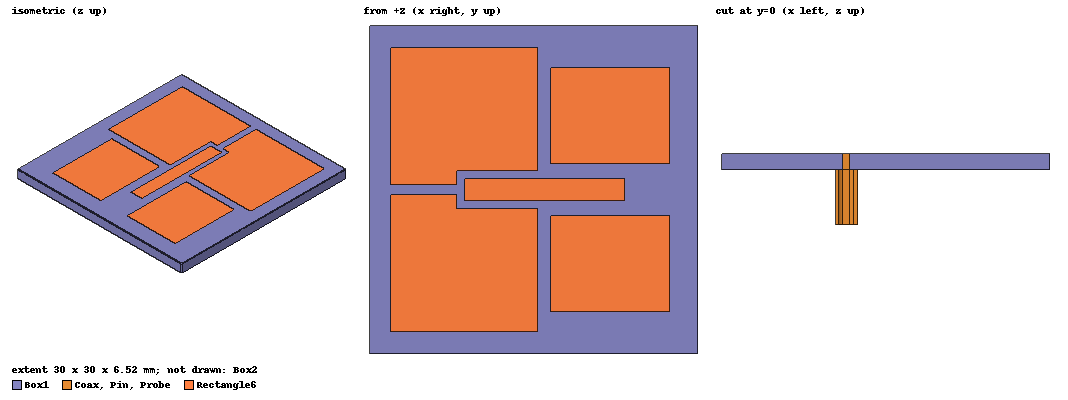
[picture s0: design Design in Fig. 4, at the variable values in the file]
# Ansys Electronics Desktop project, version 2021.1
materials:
  vacuum: permittivity=1
  Taconic RF-35 (tm): permittivity=3.5 dielectric_loss_tangent=0.0018
  copper: permeability=0.999991 conductivity=58000000

design Design in Fig. 4 (HFSS, DrivenModal, model units mm)
options: Save_Adaptive_support_files
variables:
  Ws = 30mm
  Hs = (1.52/2) mm
  Wp = 2mm
  G = 2.6mm
  Lc = 8.6mm
  Hair = 0mm
  Ha = 0mm
  P = 13.5mm
  Wo = 10.8mm
  Hs1 = (1.52/2) mm
  Wo1 = 13.5mm
  S = 1mm
  Bo = 15mm
  Lp = 14.6mm
  gap = 0.5mm
  gx1 = 2.4mm
  gy1 = 0.6mm
  gx2 = 0.5mm
  gy2 = 0.6mm
  mov = 0mm
  L1 = 7.3mm
  L2 = 7.3mm
  g1 = 0.7mm
  g2 = 0.5mm
  cut = 2mm
  cut1 = 1mm
  Ls = Ws
  mo = 1mm
  dx = 35mm
  dy = dx
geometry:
  GND = rectangle(corner=(-Ws/2, -Ws/2, 0mm), x_size=Ws, y_size=Ls)
  Box1 [Taconic RF-35 (tm)] = box(corner=(-Ws/2, -Ws/2, Hair), size=(Ws, Ls, Hs))
  Coax [copper] = cylinder(axis=Z, base_centre=(G, 0mm, 0mm), radius=1mm, height=-5mm)
  Coax1 = cylinder(axis=Z, base_centre=(G, 0mm, 0mm), radius=0.7mm, height=-5mm)
  Pin [copper] = cylinder(axis=Z, base_centre=(G, 0mm, Hair), radius=0.3mm, height=-Hair-5mm)
  Coax.subtract(Coax1)
  Probe [copper] = cylinder(axis=Z, base_centre=(G, 0mm, Hair), radius=0.3mm, height=Hs+Hs)
  Feed = circle(normal=Z, centre=(G, 0mm, -5mm), radius=0.7mm)
  Box2 [vacuum] = box(corner=(-Ws/2-Bo, -Ws/2-Bo, -Bo), size=(Ws+2*Bo, Ls+2*Bo, 2*Hs+Hair+Ha+2*Bo))
  Circle1 = circle(normal=Z, centre=(G, 0mm, 0mm), radius=0.7mm)
  Box3 = box(corner=(-Ws/2, -Ws/2, Hair+Hs+Ha), size=(Ws, Ls, Hs1))
  Rectangle6 = rectangle(corner=(-Wo/2, -Wo/2, Hs+Hs1+Hair+Ha), x_size=Wo, y_size=Wo)
  Rectangle6.move(-Wo/2-gx1, -Wo/2-gy1, 0mm)
  Box1.unite(Box3)
  Rectangle10 = rectangle(corner=(-Wo1/2, -Wo1/2, Hs+Hs1+Hair+Ha), x_size=Wo1, y_size=Wo1)
  Rectangle10.move(-Wo1/2-gx2, Wo1/2+gy2, 0mm)
  Rectangle11 = rectangle(corner=(0, -Wp/2, Hs+Hs), x_size=-L1, y_size=Wp)
  Rectangle12 = rectangle(corner=(0, -Wp/2, Hs+Hs), x_size=L2, y_size=Wp)
  Rectangle13 = rectangle(corner=(0, -Wp/2-g1, Hs+Hs), x_size=-L1-g1, y_size=Wp+2*g1)
  Rectangle14 = rectangle(corner=(0, -Wp/2-g2, Hs+Hs), x_size=L2+g2, y_size=Wp+2*g2)
  Rectangle13.unite(Rectangle14)
  Rectangle15 = rectangle(corner=(-Wo/2, -Wo/2, Hs+Hs1+Hair+Ha), x_size=Wo, y_size=cut)
  Rectangle15.move(-Wo/2-gy1, -Wo/2-gx1, 0mm)
  Rectangle15.mirror(point=(0mm, 21mm, 0mm), normal=(1mm, 0mm, 0mm))
  Rectangle15_1 = Rectangle15.duplicate_mirror(point=(13mm, 0mm, 0mm), normal=(0mm, 1mm, 0mm))
  Rectangle21 = rectangle(corner=(-Wo1/2, -Wo1/2, Hs+Hs1+Hair+Ha), x_size=Wo1, y_size=cut1)
  Rectangle21.move(-Wo1/2-gy2, -Wo1/2-gx2, 0mm)
  Rectangle21_1 = Rectangle21.duplicate_mirror(point=(-18mm, 0mm, 0mm), normal=(0mm, 1mm, 0mm))
  Rectangle6.unite(Rectangle10)
  Rectangle6.rotate(axis=Z, angle=90deg)
  Rectangle6.subtract(Rectangle13, Rectangle15, Rectangle15_1, Rectangle21, Rectangle21_1)
  [GND, Box1, Box2].move(-mo, 0mm, 0mm)
  GND.subtract(Circle1)
  Rectangle6_1 = Rectangle6.duplicate_mirror(point=(-16mm, 0mm, 0mm), normal=(0mm, 1mm, 0mm))
  Rectangle6.unite(Rectangle11, Rectangle12, Rectangle6_1)
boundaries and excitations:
  FiniteCond1: Finite Conductivity Objects=GND UseMaterial Material=copper IsInternal
  Rad1: Radiation Objects=Box2
  FiniteCond3: Finite Conductivity Objects=Rectangle6 UseMaterial Material=copper IsInternal
  1: Lumped Port Objects=Feed Modes{Mode1{IntLine{middle of Feed.edge(1 of 1) -> middle of Pin.edge(1 of 2)} CharImp=Zpi RenormImp=50ohm}} Impedance=50ohm
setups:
  Setup1: HfssDriven Frequency=5.2GHz MaxDeltaS=0.02 MaximumPasses=20 MinimumPasses=1 MinimumConvergedPasses=1 PercentRefinement=30 BasisOrder=1 PortAccuracy=2 IESolverType=ACA
    sweep Sweep: 4.8GHz to 7.2GHz step 0.02GHz; Type=Discrete SaveFields
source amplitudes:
  1:1: 1W 0deg
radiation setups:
  Infinite Sphere1: Infinite Sphere Theta=-180deg..180deg step 2deg Phi=-180deg..180deg step 2deg
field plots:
  Vector_Jsurf2: Jsurf over Rectangle6.face(#1988, #1201, #2139) on Setup1 : Sweep at Freq=5.2GHz Phase=45deg
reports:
  XY Plot 1: dB(S(1,1)) vs Freq on Setup1 : Sweep; markers m1 at 6.54GHz, m2 at 5.25GHz, MY1 at y=-10
  5.2 GHz: dB(RealizedGainPhi), dB(RealizedGainTheta) vs Theta on Setup1 : Sweep, Infinite Sphere1 [Phi=0deg,90deg Freq=5.2GHz]; markers m1 at 0deg, m2 at -178deg
  Realized Gain Plot 1: dB(RealizedGainTotal) vs Freq on Setup1 : Sweep, Infinite Sphere1 [Phi=0deg Theta=0deg mo=all]
  Gain Plot 2: dB(GainTotal) vs Phi, Theta on Setup1 : Sweep, Infinite Sphere1 [Freq=5.25GHz]
  Antenna Params Plot 1: dB(PeakRealizedGain) vs Freq on Setup1 : Sweep
  Realized Gain Plot 2: dB(RealizedGainPhi), dB(RealizedGainTheta) vs Theta on Setup1 : Sweep, Infinite Sphere1 [Phi=0deg,90deg Freq=6.6GHz]
